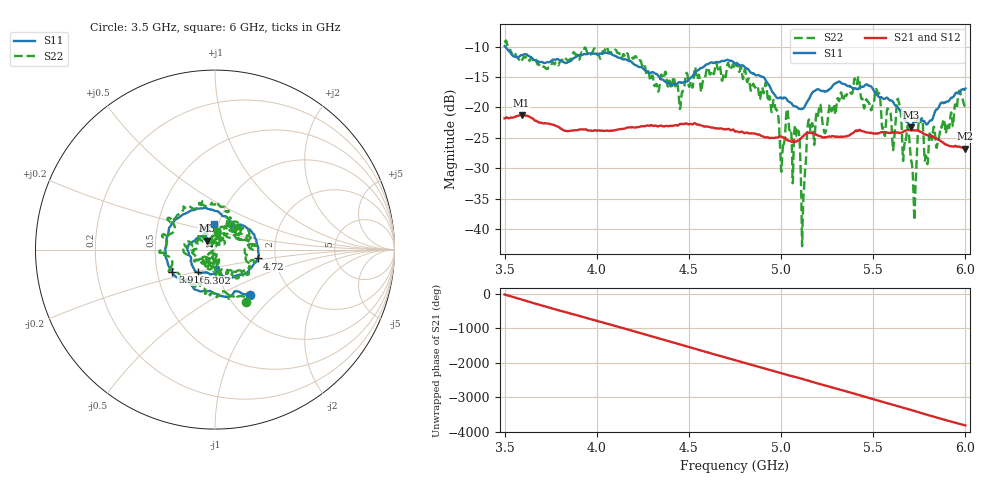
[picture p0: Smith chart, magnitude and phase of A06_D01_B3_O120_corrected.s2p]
! Created with skrf 1.9.0 (http://scikit-rf.org).
# Hz S RI R 50.0
!freq ReS11 ImS11 ReS21 ImS21 ReS12 ImS12 ReS22 ImS22
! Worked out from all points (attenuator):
!   1601 points, 3.5 GHz to 6 GHz, reference 50 ohm
!   highest |S21| = -21.27 dB at 3.592 GHz (marker M1); lowest = -26.8 dB at 6 GHz (marker M2)
!   lowest |S11| = -23.3 dB at 5.703 GHz (marker M3), VSWR 1.15, Z = 45.3 + j4.61 ohm
!   |S11| at or under -10 dB: 3.503 GHz to end of sweep
!   |S22| runs from -42.8 to -9.0 dB; largest |S21 - S12| = 0.0012
!   S11 on the Smith chart (normalised r, x): 3.5 GHz: 1.26, -0.71; 3.916 GHz: 0.60, -0.16; 4.72 GHz: 1.61, -0.17; 5.302 GHz: 0.80, -0.21; 6 GHz: 0.95, +0.28
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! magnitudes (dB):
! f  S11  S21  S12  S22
! 3.5 GHz  -9.9  -21.8  -21.8  -9.4
! 3.592 GHz  -11.4  -21.3  -21.3  -12.4
! 3.916 GHz  -11.4  -23.7  -23.6  -11.1
! 3.917 GHz  -11.4  -23.6  -23.6  -11.0
! 4.334 GHz  -14.8  -23.1  -23.1  -17.4
! 4.72 GHz  -12.3  -23.6  -23.6  -13.6
! 4.75 GHz  -12.8  -24.0  -23.9  -13.6
! 4.969 GHz  -18.1  -25.0  -25.0  -20.1
! 5.005 GHz  -18.4  -24.8  -24.9  -28.6
! 5.086 GHz  -19.9  -25.6  -25.6  -24.8
! 5.119 GHz  -20.2  -24.8  -24.7  -36.9
! 5.145 GHz  -18.9  -24.2  -24.2  -22.7
! 5.167 GHz  -17.7  -24.2  -24.2  -22.7
! 5.302 GHz  -15.9  -24.8  -24.8  -19.4
! 5.411 GHz  -17.0  -23.9  -23.9  -16.0
! 5.584 GHz  -18.7  -24.2  -24.2  -20.4
! 5.639 GHz  -20.3  -24.2  -24.2  -19.1
! 5.703 GHz  -23.3  -23.8  -23.8  -28.1
! 5.722 GHz  -22.4  -23.8  -23.7  -37.6
! 5.756 GHz  -22.0  -24.0  -24.0  -22.4
! 5.787 GHz  -22.8  -24.5  -24.5  -28.0
! 6 GHz  -16.9  -26.8  -26.7  -19.8
